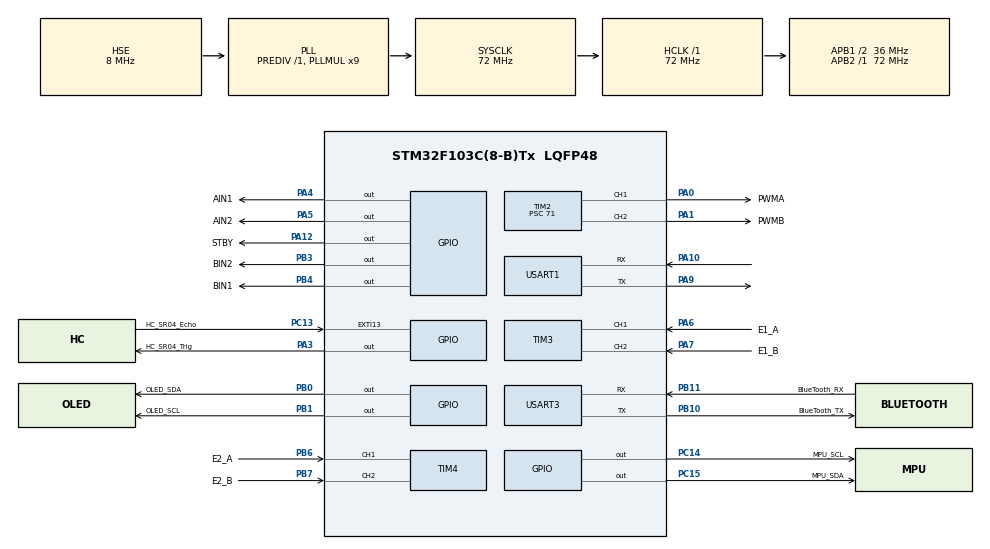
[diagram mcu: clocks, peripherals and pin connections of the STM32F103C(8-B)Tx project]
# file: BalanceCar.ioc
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Dma.Request0=USART1_RX
Dma.Request1=USART1_TX
Dma.Request2=USART3_RX
Dma.Request3=USART3_TX
Dma.USART1_RX.0.Direction=DMA_PERIPH_TO_MEMORY
Dma.USART1_RX.0.Instance=DMA1_Channel5
Dma.USART1_RX.0.MemDataAlignment=DMA_MDATAALIGN_BYTE
Dma.USART1_RX.0.MemInc=DMA_MINC_ENABLE
Dma.USART1_RX.0.Mode=DMA_NORMAL
Dma.USART1_RX.0.PeriphDataAlignment=DMA_PDATAALIGN_BYTE
Dma.USART1_RX.0.PeriphInc=DMA_PINC_DISABLE
Dma.USART1_RX.0.Priority=DMA_PRIORITY_LOW
Dma.USART1_TX.1.Direction=DMA_MEMORY_TO_PERIPH
Dma.USART1_TX.1.Instance=DMA1_Channel4
Dma.USART1_TX.1.MemDataAlignment=DMA_MDATAALIGN_BYTE
Dma.USART1_TX.1.MemInc=DMA_MINC_ENABLE
Dma.USART1_TX.1.Mode=DMA_NORMAL
Dma.USART1_TX.1.PeriphDataAlignment=DMA_PDATAALIGN_BYTE
Dma.USART1_TX.1.PeriphInc=DMA_PINC_DISABLE
Dma.USART1_TX.1.Priority=DMA_PRIORITY_LOW
Dma.USART3_RX.2.Direction=DMA_PERIPH_TO_MEMORY
Dma.USART3_RX.2.Instance=DMA1_Channel3
Dma.USART3_RX.2.MemDataAlignment=DMA_MDATAALIGN_BYTE
Dma.USART3_RX.2.MemInc=DMA_MINC_ENABLE
Dma.USART3_RX.2.Mode=DMA_NORMAL
Dma.USART3_RX.2.PeriphDataAlignment=DMA_PDATAALIGN_BYTE
Dma.USART3_RX.2.PeriphInc=DMA_PINC_DISABLE
Dma.USART3_RX.2.Priority=DMA_PRIORITY_LOW
Dma.USART3_TX.3.Direction=DMA_MEMORY_TO_PERIPH
Dma.USART3_TX.3.Instance=DMA1_Channel2
Dma.USART3_TX.3.MemDataAlignment=DMA_MDATAALIGN_BYTE
Dma.USART3_TX.3.MemInc=DMA_MINC_ENABLE
Dma.USART3_TX.3.Mode=DMA_NORMAL
Dma.USART3_TX.3.PeriphDataAlignment=DMA_PDATAALIGN_BYTE
Dma.USART3_TX.3.PeriphInc=DMA_PINC_DISABLE
Dma.USART3_TX.3.Priority=DMA_PRIORITY_LOW
FREERTOS.INCLUDE_vTaskDelayUntil=1
FREERTOS.Tasks01=defaultTask,0,128,StartDefaultTask,Default,NULL,Dynamic,NULL,NULL;Balance,2,256,Balance_Task,Default,NULL,Dynamic,NULL,NULL;BlueTooth,1,128,BlueTooth_Task,Default,NULL,Dynamic,NULL,NULL;HC_SR04,0,128,HC_SR04_Task,Default,NULL,Dynamic,NULL,NULL;OLED,-1,128,OLED_Task,Default,NULL,Dynamic,NULL,NULL
FREERTOS.configTOTAL_HEAP_SIZE=4096
Mcu.Family=STM32F1
Mcu.Name=STM32F103C(8-B)Tx
Mcu.Package=LQFP48
NVIC.DMA1_Channel2_IRQn=true\:5\:0\:false\:false\:true\:true\:false\:true\:true
NVIC.DMA1_Channel3_IRQn=true\:5\:0\:false\:false\:true\:true\:false\:true\:true
NVIC.DMA1_Channel4_IRQn=true\:5\:0\:false\:false\:true\:true\:false\:true\:true
NVIC.DMA1_Channel5_IRQn=true\:5\:0\:false\:false\:true\:true\:false\:true\:true
NVIC.EXTI15_10_IRQn=true\:5\:0\:false\:false\:true\:true\:true\:true\:true
NVIC.PriorityGroup=NVIC_PRIORITYGROUP_4
NVIC.USART1_IRQn=true\:5\:0\:false\:false\:true\:true\:true\:true\:true
NVIC.USART3_IRQn=true\:5\:0\:false\:false\:true\:true\:false\:true\:true
PA0-WKUP.GPIO_Label=PWMA
PA0-WKUP.Signal=S_TIM2_CH1_ETR
PA1.GPIO_Label=PWMB
PA1.Signal=S_TIM2_CH2
PA10.Mode=Asynchronous
PA10.Signal=USART1_RX
PA12.GPIO_Label=STBY
PA12.PinState=GPIO_PIN_SET
PA12.Signal=GPIO_Output
PA13.Mode=Serial_Wire
PA13.Signal=SYS_JTMS-SWDIO
PA14.Mode=Serial_Wire
PA14.Signal=SYS_JTCK-SWCLK
PA3.GPIO_Label=HC_SR04_Trig
PA3.Signal=GPIO_Output
PA4.GPIO_Label=AIN1
PA4.Signal=GPIO_Output
PA5.GPIO_Label=AIN2
PA5.Signal=GPIO_Output
PA6.GPIO_Label=E1_A
PA6.Signal=S_TIM3_CH1
PA7.GPIO_Label=E1_B
PA7.Signal=S_TIM3_CH2
PA9.Mode=Asynchronous
PA9.Signal=USART1_TX
PB0.GPIO_Label=OLED_SDA
PB0.Signal=GPIO_Output
PB1.GPIO_Label=OLED_SCL
PB1.Signal=GPIO_Output
PB10.GPIO_Label=BlueTooth_TX
PB10.Mode=Asynchronous
PB10.Signal=USART3_TX
PB11.GPIO_Label=BlueTooth_RX
PB11.Mode=Asynchronous
PB11.Signal=USART3_RX
PB3.GPIO_Label=BIN2
PB3.Signal=GPIO_Output
PB4.GPIO_Label=BIN1
PB4.Signal=GPIO_Output
PB6.GPIO_Label=E2_A
PB6.Signal=S_TIM4_CH1
PB7.GPIO_Label=E2_B
PB7.Signal=S_TIM4_CH2
PC13-TAMPER-RTC.GPIO_Label=HC_SR04_Echo
PC13-TAMPER-RTC.Signal=GPXTI13
PC14-OSC32_IN.GPIO_Label=MPU_SCL
PC14-OSC32_IN.Signal=GPIO_Output
PC15-OSC32_OUT.GPIO_Label=MPU_SDA
PC15-OSC32_OUT.Signal=GPIO_Output
PD0-OSC_IN.Mode=HSE-External-Oscillator
PD0-OSC_IN.Signal=RCC_OSC_IN
PD1-OSC_OUT.Mode=HSE-External-Oscillator
PD1-OSC_OUT.Signal=RCC_OSC_OUT
ProjectManager.HeapSize=0x200
ProjectManager.StackSize=0x400
ProjectManager.TargetToolchain=CMake
RCC.AHBFreq_Value=72000000
RCC.APB1CLKDivider=RCC_HCLK_DIV2
RCC.APB1Freq_Value=36000000
RCC.APB1TimFreq_Value=72000000
RCC.APB2Freq_Value=72000000
RCC.APB2TimFreq_Value=72000000
RCC.HCLKFreq_Value=72000000
RCC.PLLMUL=RCC_PLL_MUL9
RCC.PLLSourceVirtual=RCC_PLLSOURCE_HSE
RCC.SYSCLKFreq_VALUE=72000000
RCC.SYSCLKSource=RCC_SYSCLKSOURCE_PLLCLK
RCC.USBFreq_Value=72000000
SH.S_TIM2_CH1_ETR.0=TIM2_CH1,PWM Generation1 CH1
SH.S_TIM2_CH2.0=TIM2_CH2,PWM Generation2 CH2
SH.S_TIM3_CH1.0=TIM3_CH1,Encoder_Interface
SH.S_TIM3_CH2.0=TIM3_CH2,Encoder_Interface
SH.S_TIM4_CH1.0=TIM4_CH1,Encoder_Interface
SH.S_TIM4_CH2.0=TIM4_CH2,Encoder_Interface
TIM1.Period=49999
TIM1.Prescaler=71
TIM2.AutoReloadPreload=TIM_AUTORELOAD_PRELOAD_ENABLE
TIM2.Channel-PWM\ Generation1\ CH1=TIM_CHANNEL_1
TIM2.Channel-PWM\ Generation2\ CH2=TIM_CHANNEL_2
TIM2.Period=999
TIM2.Prescaler=71
USART1.VirtualMode=VM_ASYNC
USART3.VirtualMode=VM_ASYNC
VP_FREERTOS_VS_CMSIS_V1.Mode=CMSIS_V1
VP_TIM1_VS_ClockSourceINT.Mode=Internal
board=custom

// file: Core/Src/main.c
/* USER CODE BEGIN Header */
/**
  ******************************************************************************
  * @file           : main.c
  * @brief          : Main program body
  ******************************************************************************
  * @attention
  *
  * Copyright (c) 2025 STMicroelectronics.
  * All rights reserved.
  *
  * This software is licensed under terms that can be found in the LICENSE file
  * in the root directory of this software component.
  * If no LICENSE file comes with this software, it is provided AS-IS.
  *
  ******************************************************************************
  */
/* USER CODE END Header */
#include "main.h"
#include "cmsis_os.h"
#include "dma.h"
#include "tim.h"
#include "usart.h"
#include "gpio.h"

void SystemClock_Config(void);
void MX_FREERTOS_Init(void);

int main(void)
{

    /* MCU Configuration--------------------------------------------------------*/

    /* Reset of all peripherals, Initializes the Flash interface and the Systick. */
    HAL_Init();

    /* Configure the system clock */
    SystemClock_Config();

    /* Initialize all configured peripherals */
    MX_GPIO_Init();
    MX_DMA_Init();
    MX_USART1_UART_Init();
    MX_USART3_UART_Init();
    MX_TIM2_Init();
    MX_TIM3_Init();
    MX_TIM4_Init();
    MX_TIM1_Init();

    /* Call init function for freertos objects (in cmsis_os2.c) */
    MX_FREERTOS_Init();

    /* Start scheduler */
    osKernelStart();

    /* We should never get here as control is now taken by the scheduler */

    /* Infinite loop */
    while (1)
    {

    }
}

void SystemClock_Config(void)
{
    RCC_OscInitTypeDef RCC_OscInitStruct = {0};
    RCC_ClkInitTypeDef RCC_ClkInitStruct = {0};

    /** Initializes the RCC Oscillators according to the specified parameters
    * in the RCC_OscInitTypeDef structure.
    */
    RCC_OscInitStruct.OscillatorType = RCC_OSCILLATORTYPE_HSE;
    RCC_OscInitStruct.HSEState = RCC_HSE_ON;
    RCC_OscInitStruct.HSEPredivValue = RCC_HSE_PREDIV_DIV1;
    RCC_OscInitStruct.HSIState = RCC_HSI_ON;
    RCC_OscInitStruct.PLL.PLLState = RCC_PLL_ON;
    RCC_OscInitStruct.PLL.PLLSource = RCC_PLLSOURCE_HSE;
    RCC_OscInitStruct.PLL.PLLMUL = RCC_PLL_MUL9;
    if (HAL_RCC_OscConfig(&RCC_OscInitStruct) != HAL_OK)
    {
        Error_Handler();
    }

    /** Initializes the CPU, AHB and APB buses clocks
    */
    RCC_ClkInitStruct.ClockType = RCC_CLOCKTYPE_HCLK | RCC_CLOCKTYPE_SYSCLK
        | RCC_CLOCKTYPE_PCLK1 | RCC_CLOCKTYPE_PCLK2;
    RCC_ClkInitStruct.SYSCLKSource = RCC_SYSCLKSOURCE_PLLCLK;
    RCC_ClkInitStruct.AHBCLKDivider = RCC_SYSCLK_DIV1;
    RCC_ClkInitStruct.APB1CLKDivider = RCC_HCLK_DIV2;
    RCC_ClkInitStruct.APB2CLKDivider = RCC_HCLK_DIV1;

    if (HAL_RCC_ClockConfig(&RCC_ClkInitStruct, FLASH_LATENCY_2) != HAL_OK)
    {
        Error_Handler();
    }
}

void Error_Handler(void)
{
    __disable_irq();
    while (1)
    {
    }
}

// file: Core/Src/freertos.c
/* USER CODE BEGIN Header */
/**
  ******************************************************************************
  * File Name          : freertos.c
  * Description        : Code for freertos applications
  ******************************************************************************
  * @attention
  *
  * Copyright (c) 2025 STMicroelectronics.
  * All rights reserved.
  *
  * This software is licensed under terms that can be found in the LICENSE file
  * in the root directory of this software component.
  * If no LICENSE file comes with this software, it is provided AS-IS.
  *
  ******************************************************************************
  */
/* USER CODE END Header */

#include "FreeRTOS.h"
#include "task.h"
#include "main.h"
#include "cmsis_os.h"

/* USER CODE BEGIN Includes */

#include "HC_SR04.h"
#include "inv_mpu.h"
#include "mpu6050.h"
#include "OLED.h"
#include "stdbool.h"
#include "stdio.h"
#include "stdarg.h"

/* USER CODE END Includes */

/* USER CODE BEGIN PTD */

extern UART_HandleTypeDef huart1;
extern UART_HandleTypeDef huart3;
extern TIM_HandleTypeDef htim1;
extern TIM_HandleTypeDef htim2;
extern TIM_HandleTypeDef htim3;
extern TIM_HandleTypeDef htim4;
extern float Distance;
extern bool GetDistance_Status;

uint8_t Receive_Buffer[128]; //接收缓存
float Pitch, Roll, Yaw;

/* USER CODE END PTD */

osThreadId defaultTaskHandle;
osThreadId BalanceHandle;
osThreadId BlueToothHandle;
osThreadId HC_SR04Handle;
osThreadId OLEDHandle;

/* USER CODE BEGIN FunctionPrototypes */

/**
 * @brief 串口打印函数
 * @param huart 串口
 * @param format 字符串
 */
void Uart_printf(UART_HandleTypeDef* huart, char* format, ...) // 串口打印函数
{
    static char buf[128]; // 定义临时数组，根据实际发送大小
    va_list args;
    va_start(args, format);
    uint32_t len = vsnprintf((char*)buf, sizeof(buf), (char*)format, args);
    va_end(args);
    HAL_UART_Transmit_DMA(huart, (uint8_t*)buf, len);
}

/* USER CODE END FunctionPrototypes */

void StartDefaultTask(void const * argument);
void Balance_Task(void const * argument);
void BlueTooth_Task(void const * argument);
void HC_SR04_Task(void const * argument);
void OLED_Task(void const * argument);

void MX_FREERTOS_Init(void); /* (MISRA C 2004 rule 8.1) */

/* GetIdleTaskMemory prototype (linked to static allocation support) */
void vApplicationGetIdleTaskMemory( StaticTask_t **ppxIdleTaskTCBBuffer, StackType_t **ppxIdleTaskStackBuffer, uint32_t *pulIdleTaskStackSize );

/* USER CODE BEGIN GET_IDLE_TASK_MEMORY */
static StaticTask_t xIdleTaskTCBBuffer;
static StackType_t xIdleStack[configMINIMAL_STACK_SIZE];

void vApplicationGetIdleTaskMemory(StaticTask_t** ppxIdleTaskTCBBuffer, StackType_t** ppxIdleTaskStackBuffer,
                                   uint32_t* pulIdleTaskStackSize)
{
    *ppxIdleTaskTCBBuffer = &xIdleTaskTCBBuffer;
    *ppxIdleTaskStackBuffer = &xIdleStack[0];
    *pulIdleTaskStackSize = configMINIMAL_STACK_SIZE;
    /* place for user code */
}

/* USER CODE END GET_IDLE_TASK_MEMORY */

void MX_FREERTOS_Init(void) {

  /* Create the thread(s) */
  /* definition and creation of defaultTask */
  osThreadDef(defaultTask, StartDefaultTask, osPriorityNormal, 0, 128);
  defaultTaskHandle = osThreadCreate(osThread(defaultTask), NULL);

  /* definition and creation of Balance */
  osThreadDef(Balance, Balance_Task, osPriorityHigh, 0, 256);
  BalanceHandle = osThreadCreate(osThread(Balance), NULL);

  /* definition and creation of BlueTooth */
  osThreadDef(BlueTooth, BlueTooth_Task, osPriorityAboveNormal, 0, 128);
  BlueToothHandle = osThreadCreate(osThread(BlueTooth), NULL);

  /* definition and creation of HC_SR04 */
  osThreadDef(HC_SR04, HC_SR04_Task, osPriorityNormal, 0, 128);
  HC_SR04Handle = osThreadCreate(osThread(HC_SR04), NULL);

  /* definition and creation of OLED */
  osThreadDef(OLED, OLED_Task, osPriorityBelowNormal, 0, 128);
  OLEDHandle = osThreadCreate(osThread(OLED), NULL);

}

void StartDefaultTask(void const * argument)
{
  /* USER CODE BEGIN StartDefaultTask */

    OLED_Init();
    MPU_Init();
    mpu_dmp_init();
    Delay_Us_Init();
    HAL_TIM_PWM_Start(&htim2, TIM_CHANNEL_1);
    HAL_TIM_PWM_Start(&htim2, TIM_CHANNEL_2);
    HAL_TIM_Encoder_Start(&htim3,TIM_CHANNEL_ALL);
    HAL_TIM_Encoder_Start(&htim4,TIM_CHANNEL_ALL);

    HAL_UARTEx_ReceiveToIdle_DMA(&huart1, Receive_Buffer, sizeof(Receive_Buffer));
    __HAL_DMA_DISABLE_IT(huart3.hdmarx, DMA_IT_HT);

    /* Infinite loop */
    for (;;)
    {
        osDelay(1);
    }
  /* USER CODE END StartDefaultTask */
}

void Balance_Task(void const * argument)
{
  /* USER CODE BEGIN Balance_Task */

    TickType_t xLastWakeTime;

    /* Infinite loop */
    for (;;)
    {
        mpu_dmp_get_data(&Pitch, &Roll, &Yaw);

        vTaskDelayUntil(&xLastWakeTime, 5);
        osDelay(1);
    }
  /* USER CODE END Balance_Task */
}

void BlueTooth_Task(void const * argument)
{
    for (;;)
    {
        osDelay(1);
    }
}

void HC_SR04_Task(void const * argument)
{
  /* USER CODE BEGIN HC_SR04_Task */
    TickType_t xLastWakeTime;
    /* Infinite loop */
    for (;;)
    {
        HC_SR04_Send_Trig();
        vTaskDelayUntil(&xLastWakeTime, 50);

        osDelay(1);
    }
  /* USER CODE END HC_SR04_Task */
}

void OLED_Task(void const * argument)
{
  /* USER CODE BEGIN OLED_Task */

    TickType_t xLastWakeTime;

    /* Infinite loop */
    for (;;)
    {
        OLED_ShowString(1, 1, "Distance:");
        OLED_ShowNum(1, 10, (uint16_t)Distance, 2);
        OLED_ShowString(1, 12, "cm");
        OLED_ShowString(2, 1, "Pitch:");
        OLED_ShowSignedNum(2, 7, (int16_t)Pitch, 2);
        OLED_ShowString(3, 1, "Yaw:");
        OLED_ShowSignedNum(3, 5, (int16_t)Yaw, 2);
        vTaskDelayUntil(&xLastWakeTime, 50);
        osDelay(1);
    }
  /* USER CODE END OLED_Task */
}

/* USER CODE BEGIN Application */

/**
 * @brief 蓝牙接收回调函数
 * @param huart 串口
 */
void HAL_UART_RxCpltCallback(UART_HandleTypeDef* huart)
{
    if (huart->Instance == USART3)
    {
        HAL_UARTEx_ReceiveToIdle_DMA(&huart3, Receive_Buffer, sizeof(Receive_Buffer));
        __HAL_DMA_DISABLE_IT(huart3.hdmarx, DMA_IT_HT);
    }
}

/* USER CODE END Application */
